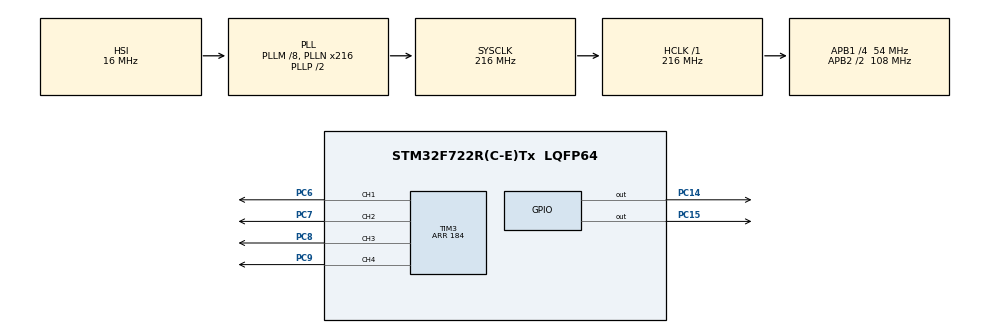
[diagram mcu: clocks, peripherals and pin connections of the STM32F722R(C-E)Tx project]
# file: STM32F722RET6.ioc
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Dma.Request0=TIM3_CH3
Dma.Request1=TIM3_CH4/UP
Dma.TIM3_CH3.0.Direction=DMA_MEMORY_TO_PERIPH
Dma.TIM3_CH3.0.FIFOMode=DMA_FIFOMODE_ENABLE
Dma.TIM3_CH3.0.FIFOThreshold=DMA_FIFO_THRESHOLD_1QUARTERFULL
Dma.TIM3_CH3.0.Instance=DMA1_Stream7
Dma.TIM3_CH3.0.MemBurst=DMA_MBURST_SINGLE
Dma.TIM3_CH3.0.MemDataAlignment=DMA_MDATAALIGN_WORD
Dma.TIM3_CH3.0.MemInc=DMA_MINC_ENABLE
Dma.TIM3_CH3.0.Mode=DMA_NORMAL
Dma.TIM3_CH3.0.PeriphBurst=DMA_PBURST_SINGLE
Dma.TIM3_CH3.0.PeriphDataAlignment=DMA_PDATAALIGN_WORD
Dma.TIM3_CH3.0.PeriphInc=DMA_PINC_DISABLE
Dma.TIM3_CH3.0.Priority=DMA_PRIORITY_LOW
Dma.TIM3_CH4/UP.1.Direction=DMA_MEMORY_TO_PERIPH
Dma.TIM3_CH4/UP.1.FIFOMode=DMA_FIFOMODE_ENABLE
Dma.TIM3_CH4/UP.1.FIFOThreshold=DMA_FIFO_THRESHOLD_1QUARTERFULL
Dma.TIM3_CH4/UP.1.Instance=DMA1_Stream2
Dma.TIM3_CH4/UP.1.MemBurst=DMA_MBURST_SINGLE
Dma.TIM3_CH4/UP.1.MemDataAlignment=DMA_MDATAALIGN_WORD
Dma.TIM3_CH4/UP.1.MemInc=DMA_MINC_ENABLE
Dma.TIM3_CH4/UP.1.Mode=DMA_NORMAL
Dma.TIM3_CH4/UP.1.PeriphBurst=DMA_PBURST_SINGLE
Dma.TIM3_CH4/UP.1.PeriphDataAlignment=DMA_PDATAALIGN_WORD
Dma.TIM3_CH4/UP.1.PeriphInc=DMA_PINC_DISABLE
Dma.TIM3_CH4/UP.1.Priority=DMA_PRIORITY_LOW
Mcu.Family=STM32F7
Mcu.Name=STM32F722R(C-E)Tx
Mcu.Package=LQFP64
NVIC.DMA1_Stream2_IRQn=true\:0\:0\:false\:false\:true\:false\:true\:true
NVIC.DMA1_Stream7_IRQn=true\:0\:0\:false\:false\:true\:false\:true\:true
NVIC.PriorityGroup=NVIC_PRIORITYGROUP_4
PC14-OSC32_IN.Signal=GPIO_Output
PC15-OSC32_OUT.Signal=GPIO_Output
PC6.Signal=S_TIM3_CH1
PC7.Signal=S_TIM3_CH2
PC8.Signal=S_TIM3_CH3
PC9.Signal=S_TIM3_CH4
ProjectManager.HeapSize=0x200
ProjectManager.StackSize=0x400
ProjectManager.TargetToolchain=MDK-ARM V5
RCC.AHBFreq_Value=216000000
RCC.APB1CLKDivider=RCC_HCLK_DIV4
RCC.APB1Freq_Value=54000000
RCC.APB1TimFreq_Value=108000000
RCC.APB2CLKDivider=RCC_HCLK_DIV2
RCC.APB2Freq_Value=108000000
RCC.APB2TimFreq_Value=216000000
RCC.CortexFreq_Value=216000000
RCC.HCLKFreq_Value=216000000
RCC.HSE_VALUE=25000000
RCC.HSI_VALUE=16000000
RCC.LSE_VALUE=32768
RCC.PLLM=8
RCC.PLLN=216
RCC.SYSCLKFreq_VALUE=216000000
RCC.SYSCLKSource=RCC_SYSCLKSOURCE_PLLCLK
RCC.USBFreq_Value=216000000
RCC.VCOOutputFreq_Value=432000000
SH.S_TIM3_CH1.0=TIM3_CH1,PWM Generation1 CH1
SH.S_TIM3_CH2.0=TIM3_CH2,PWM Generation2 CH2
SH.S_TIM3_CH3.0=TIM3_CH3,PWM Generation3 CH3
SH.S_TIM3_CH4.0=TIM3_CH4,PWM Generation4 CH4
TIM3.Channel-PWM\ Generation1\ CH1=TIM_CHANNEL_1
TIM3.Channel-PWM\ Generation2\ CH2=TIM_CHANNEL_2
TIM3.Channel-PWM\ Generation3\ CH3=TIM_CHANNEL_3
TIM3.Channel-PWM\ Generation4\ CH4=TIM_CHANNEL_4
TIM3.Period=184
VP_TIM3_VS_ClockSourceINT.Mode=Internal
board=custom

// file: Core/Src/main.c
/* USER CODE BEGIN Header */
/**
  ******************************************************************************
  * @file           : main.c
  * @brief          : Main program body
  ******************************************************************************
  * @attention
  *
  * Copyright (c) 2024 STMicroelectronics.
  * All rights reserved.
  *
  * This software is licensed under terms that can be found in the LICENSE file
  * in the root directory of this software component.
  * If no LICENSE file comes with this software, it is provided AS-IS.
  *
  ******************************************************************************
  */
/* USER CODE END Header */
#include "main.h"

/* USER CODE BEGIN Includes */

#include "./DSHOT/Dshot.h"

/* USER CODE END Includes */

/* USER CODE BEGIN PM */

extern int Pulse_Width;
extern int Dshot_0bit;
extern int Dshot_1bit;

/* USER CODE END PM */

TIM_HandleTypeDef htim3;
DMA_HandleTypeDef hdma_tim3_ch3;
DMA_HandleTypeDef hdma_tim3_ch4_up;

void SystemClock_Config(void);
static void MX_GPIO_Init(void);
static void MX_DMA_Init(void);
static void MX_TIM3_Init(void);

/* USER CODE BEGIN 0 */
uint32_t Buffer_test[18] = {0};
/* USER CODE END 0 */

int main(void)
{

  /* MCU Configuration--------------------------------------------------------*/

  /* Reset of all peripherals, Initializes the Flash interface and the Systick. */
  HAL_Init();

  /* Configure the system clock */
  SystemClock_Config();

  /* Initialize all configured peripherals */
  MX_GPIO_Init();
  MX_DMA_Init();
  MX_TIM3_Init();
  /* USER CODE BEGIN 2 */

		pwmWriteDigital_one(Buffer_test,1500); //����ֵ1500/2047=73%

//		__HAL_TIM_SET_COMPARE(&htim3,TIM_CHANNEL_3,(htim3.Instance->ARR-1)/2);
//		__HAL_TIM_SET_COMPARE(&htim3,TIM_CHANNEL_4,(htim3.Instance->ARR-1)/2);
			HAL_TIM_PWM_Start(&htim3, TIM_CHANNEL_3);
			HAL_TIM_PWM_Start(&htim3, TIM_CHANNEL_4);

		__HAL_TIM_ENABLE_DMA(&htim3, TIM_DMA_CC3);
		__HAL_TIM_ENABLE_DMA(&htim3, TIM_DMA_CC4);
//	__HAL_TIM_DISABLE_DMA(&htim3, TIM_DMA_CC3);
//	__HAL_TIM_DISABLE_DMA(&htim3, TIM_DMA_CC4);

  /* USER CODE END 2 */

  /* Infinite loop */
  /* USER CODE BEGIN WHILE */
  while (1)
  {
		HAL_GPIO_TogglePin(GPIOC,GPIO_PIN_14);
		HAL_GPIO_TogglePin(GPIOC,GPIO_PIN_15);
		HAL_Delay(300);

		HAL_DMA_Abort(&hdma_tim3_ch3);
		HAL_DMA_Abort(&hdma_tim3_ch4_up);
		HAL_DMA_Start(&hdma_tim3_ch3,(uint32_t)Buffer_test,(uint32_t)&htim3.Instance->CCR3,18);
		HAL_DMA_Start(&hdma_tim3_ch4_up,(uint32_t)Buffer_test,(uint32_t)&htim3.Instance->CCR4,18);

    /* USER CODE END WHILE */

  }
}

void SystemClock_Config(void)
{
  RCC_OscInitTypeDef RCC_OscInitStruct = {0};
  RCC_ClkInitTypeDef RCC_ClkInitStruct = {0};

  /** Configure the main internal regulator output voltage
  */
  __HAL_RCC_PWR_CLK_ENABLE();
  __HAL_PWR_VOLTAGESCALING_CONFIG(PWR_REGULATOR_VOLTAGE_SCALE1);

  /** Initializes the RCC Oscillators according to the specified parameters
  * in the RCC_OscInitTypeDef structure.
  */
  RCC_OscInitStruct.OscillatorType = RCC_OSCILLATORTYPE_HSI;
  RCC_OscInitStruct.HSIState = RCC_HSI_ON;
  RCC_OscInitStruct.HSICalibrationValue = RCC_HSICALIBRATION_DEFAULT;
  RCC_OscInitStruct.PLL.PLLState = RCC_PLL_ON;
  RCC_OscInitStruct.PLL.PLLSource = RCC_PLLSOURCE_HSI;
  RCC_OscInitStruct.PLL.PLLM = 8;
  RCC_OscInitStruct.PLL.PLLN = 216;
  RCC_OscInitStruct.PLL.PLLP = RCC_PLLP_DIV2;
  RCC_OscInitStruct.PLL.PLLQ = 2;
  if (HAL_RCC_OscConfig(&RCC_OscInitStruct) != HAL_OK)
  {
    Error_Handler();
  }

  /** Activate the Over-Drive mode
  */
  if (HAL_PWREx_EnableOverDrive() != HAL_OK)
  {
    Error_Handler();
  }

  /** Initializes the CPU, AHB and APB buses clocks
  */
  RCC_ClkInitStruct.ClockType = RCC_CLOCKTYPE_HCLK|RCC_CLOCKTYPE_SYSCLK
                              |RCC_CLOCKTYPE_PCLK1|RCC_CLOCKTYPE_PCLK2;
  RCC_ClkInitStruct.SYSCLKSource = RCC_SYSCLKSOURCE_PLLCLK;
  RCC_ClkInitStruct.AHBCLKDivider = RCC_SYSCLK_DIV1;
  RCC_ClkInitStruct.APB1CLKDivider = RCC_HCLK_DIV4;
  RCC_ClkInitStruct.APB2CLKDivider = RCC_HCLK_DIV2;

  if (HAL_RCC_ClockConfig(&RCC_ClkInitStruct, FLASH_LATENCY_7) != HAL_OK)
  {
    Error_Handler();
  }
}

static void MX_TIM3_Init(void)
{

  TIM_ClockConfigTypeDef sClockSourceConfig = {0};
  TIM_MasterConfigTypeDef sMasterConfig = {0};
  TIM_OC_InitTypeDef sConfigOC = {0};

  htim3.Instance = TIM3;
  htim3.Init.Prescaler = 0;
  htim3.Init.CounterMode = TIM_COUNTERMODE_UP;
  htim3.Init.Period = 184;
  htim3.Init.ClockDivision = TIM_CLOCKDIVISION_DIV1;
  htim3.Init.AutoReloadPreload = TIM_AUTORELOAD_PRELOAD_DISABLE;
  if (HAL_TIM_Base_Init(&htim3) != HAL_OK)
  {
    Error_Handler();
  }
  sClockSourceConfig.ClockSource = TIM_CLOCKSOURCE_INTERNAL;
  if (HAL_TIM_ConfigClockSource(&htim3, &sClockSourceConfig) != HAL_OK)
  {
    Error_Handler();
  }
  if (HAL_TIM_PWM_Init(&htim3) != HAL_OK)
  {
    Error_Handler();
  }
  sMasterConfig.MasterOutputTrigger = TIM_TRGO_RESET;
  sMasterConfig.MasterSlaveMode = TIM_MASTERSLAVEMODE_DISABLE;
  if (HAL_TIMEx_MasterConfigSynchronization(&htim3, &sMasterConfig) != HAL_OK)
  {
    Error_Handler();
  }
  sConfigOC.OCMode = TIM_OCMODE_PWM1;
  sConfigOC.Pulse = 0;
  sConfigOC.OCPolarity = TIM_OCPOLARITY_HIGH;
  sConfigOC.OCFastMode = TIM_OCFAST_DISABLE;
  if (HAL_TIM_PWM_ConfigChannel(&htim3, &sConfigOC, TIM_CHANNEL_1) != HAL_OK)
  {
    Error_Handler();
  }
  if (HAL_TIM_PWM_ConfigChannel(&htim3, &sConfigOC, TIM_CHANNEL_2) != HAL_OK)
  {
    Error_Handler();
  }
  if (HAL_TIM_PWM_ConfigChannel(&htim3, &sConfigOC, TIM_CHANNEL_3) != HAL_OK)
  {
    Error_Handler();
  }
  if (HAL_TIM_PWM_ConfigChannel(&htim3, &sConfigOC, TIM_CHANNEL_4) != HAL_OK)
  {
    Error_Handler();
  }
  HAL_TIM_MspPostInit(&htim3);

}

static void MX_DMA_Init(void)
{

  /* DMA controller clock enable */
  __HAL_RCC_DMA1_CLK_ENABLE();

  /* DMA interrupt init */
  /* DMA1_Stream2_IRQn interrupt configuration */
  HAL_NVIC_SetPriority(DMA1_Stream2_IRQn, 0, 0);
  HAL_NVIC_EnableIRQ(DMA1_Stream2_IRQn);
  /* DMA1_Stream7_IRQn interrupt configuration */
  HAL_NVIC_SetPriority(DMA1_Stream7_IRQn, 0, 0);
  HAL_NVIC_EnableIRQ(DMA1_Stream7_IRQn);

}

static void MX_GPIO_Init(void)
{
  GPIO_InitTypeDef GPIO_InitStruct = {0};

  /* GPIO Ports Clock Enable */
  __HAL_RCC_GPIOC_CLK_ENABLE();

  /*Configure GPIO pin Output Level */
  HAL_GPIO_WritePin(GPIOC, GPIO_PIN_14|GPIO_PIN_15, GPIO_PIN_RESET);

  /*Configure GPIO pins : PC14 PC15 */
  GPIO_InitStruct.Pin = GPIO_PIN_14|GPIO_PIN_15;
  GPIO_InitStruct.Mode = GPIO_MODE_OUTPUT_PP;
  GPIO_InitStruct.Pull = GPIO_NOPULL;
  GPIO_InitStruct.Speed = GPIO_SPEED_FREQ_LOW;
  HAL_GPIO_Init(GPIOC, &GPIO_InitStruct);

}

void Error_Handler(void)
{
  __disable_irq();
  while (1)
  {
  }
}
